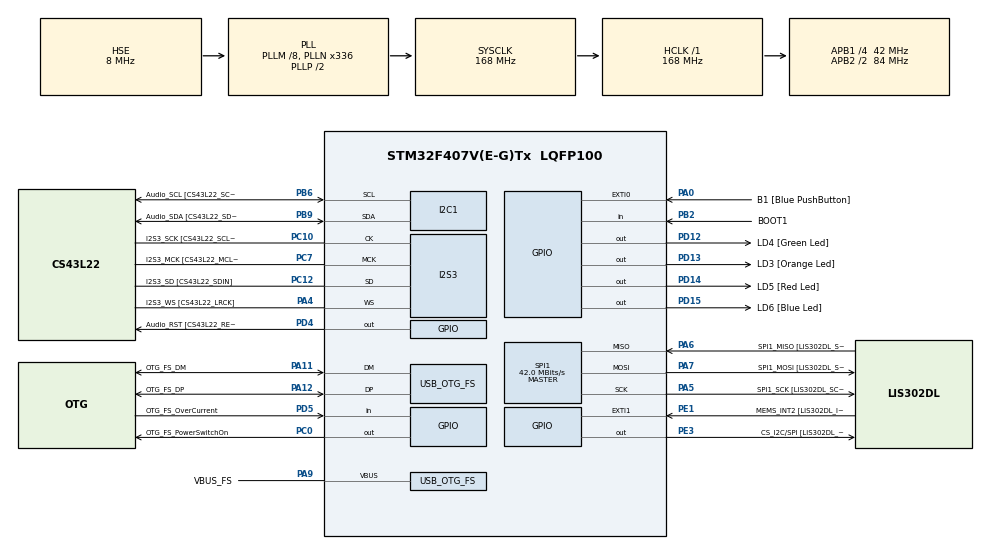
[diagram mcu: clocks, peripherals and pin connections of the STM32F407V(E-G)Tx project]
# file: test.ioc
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I2S3.AudioFreq-Half_Duplex_Master=I2S_AUDIOFREQ_96K
I2S3.ErrorAudioFreq=-2.34 %
I2S3.ErrorAudioFreq-Half_Duplex_Master=0.8 %
I2S3.FullDuplexMode=I2S_FULLDUPLEXMODE_DISABLE
I2S3.Instance=SPI$Index
I2S3.RealAudioFreq=93.75 KHz
I2S3.RealAudioFreq-Half_Duplex_Master=96.774 KHz
I2S3.VirtualMode=I2S_MODE_MASTER
Mcu.Family=STM32F4
Mcu.Name=STM32F407V(E-G)Tx
Mcu.Package=LQFP100
NVIC.OTG_FS_IRQn=true\:0\:0\:false\:false\:true\:true
NVIC.PriorityGroup=NVIC_PRIORITYGROUP_0
PA0-WKUP.GPIO_Label=B1 [Blue PushButton]
PA0-WKUP.GPIO_ModeDefaultEXTI=GPIO_MODE_EVT_RISING
PA0-WKUP.GPIO_PuPd=GPIO_NOPULL
PA0-WKUP.Signal=GPXTI0
PA10.GPIO_Label=OTG_FS_ID
PA10.GPIO_Mode=GPIO_MODE_AF_PP
PA10.GPIO_PuPd=GPIO_NOPULL
PA10.GPIO_Speed=GPIO_SPEED_FREQ_LOW
PA10.Signal=USB_OTG_FS_ID
PA11.GPIO_Label=OTG_FS_DM
PA11.GPIO_Mode=GPIO_MODE_AF_PP
PA11.GPIO_PuPd=GPIO_NOPULL
PA11.GPIO_Speed=GPIO_SPEED_FREQ_LOW
PA11.Mode=Device_Only
PA11.Signal=USB_OTG_FS_DM
PA12.GPIO_Label=OTG_FS_DP
PA12.GPIO_Mode=GPIO_MODE_AF_PP
PA12.GPIO_PuPd=GPIO_NOPULL
PA12.GPIO_Speed=GPIO_SPEED_FREQ_LOW
PA12.Mode=Device_Only
PA12.Signal=USB_OTG_FS_DP
PA13.GPIO_Label=SWDIO
PA13.Mode=Serial_Wire
PA13.Signal=SYS_JTMS-SWDIO
PA14.GPIO_Label=SWCLK
PA14.Mode=Serial_Wire
PA14.Signal=SYS_JTCK-SWCLK
PA4.GPIO_Label=I2S3_WS [CS43L22_LRCK]
PA4.GPIO_Mode=GPIO_MODE_AF_PP
PA4.GPIO_PuPd=GPIO_NOPULL
PA4.GPIO_Speed=GPIO_SPEED_FREQ_LOW
PA4.Mode=Half_Duplex_Master
PA4.Signal=I2S3_WS
PA5.GPIO_Label=SPI1_SCK [LIS302DL_SCL/SPC]
PA5.GPIO_Mode=GPIO_MODE_AF_PP
PA5.GPIO_PuPd=GPIO_NOPULL
PA5.GPIO_Speed=GPIO_SPEED_FREQ_LOW
PA5.Mode=Full_Duplex_Master
PA5.Signal=SPI1_SCK
PA6.GPIO_Label=SPI1_MISO [LIS302DL_SDO]
PA6.GPIO_Mode=GPIO_MODE_AF_PP
PA6.GPIO_PuPd=GPIO_NOPULL
PA6.GPIO_Speed=GPIO_SPEED_FREQ_LOW
PA6.Mode=Full_Duplex_Master
PA6.Signal=SPI1_MISO
PA7.GPIO_Label=SPI1_MOSI [LIS302DL_SDA/SDI/SDO]
PA7.GPIO_Mode=GPIO_MODE_AF_PP
PA7.GPIO_PuPd=GPIO_NOPULL
PA7.GPIO_Speed=GPIO_SPEED_FREQ_LOW
PA7.Mode=Full_Duplex_Master
PA7.Signal=SPI1_MOSI
PA9.GPIO_Label=VBUS_FS
PA9.GPIO_Mode=GPIO_MODE_INPUT
PA9.GPIO_PuPd=GPIO_NOPULL
PA9.Mode=Activate_VBUS
PA9.Signal=USB_OTG_FS_VBUS
PB10.GPIO_Label=CLK_IN [MP45DT02_CLK]
PB10.GPIO_Mode=GPIO_MODE_AF_PP
PB10.GPIO_PuPd=GPIO_NOPULL
PB10.GPIO_Speed=GPIO_SPEED_FREQ_LOW
PB10.Signal=I2S2_CK
PB2.GPIO_Label=BOOT1
PB2.GPIO_Mode=GPIO_MODE_INPUT
PB2.GPIO_PuPd=GPIO_NOPULL
PB2.Signal=GPIO_Input
PB3.GPIO_Label=SWO
PB3.Signal=SYS_JTDO-SWO
PB6.GPIO_Label=Audio_SCL [CS43L22_SCL]
PB6.GPIO_Mode=GPIO_MODE_AF_OD
PB6.GPIO_PuPd=GPIO_NOPULL
PB6.GPIO_Speed=GPIO_SPEED_FREQ_LOW
PB6.Mode=I2C
PB6.Signal=I2C1_SCL
PB9.GPIO_Label=Audio_SDA [CS43L22_SDA]
PB9.GPIO_Mode=GPIO_MODE_AF_OD
PB9.GPIO_PuPd=GPIO_NOPULL
PB9.GPIO_Speed=GPIO_SPEED_FREQ_LOW
PB9.Mode=I2C
PB9.Signal=I2C1_SDA
PC0.GPIO_Label=OTG_FS_PowerSwitchOn
PC0.GPIO_PuPd=GPIO_NOPULL
PC0.GPIO_Speed=GPIO_SPEED_FREQ_LOW
PC0.PinState=GPIO_PIN_SET
PC0.Signal=GPIO_Output
PC10.GPIO_Label=I2S3_SCK [CS43L22_SCLK]
PC10.GPIO_Mode=GPIO_MODE_AF_PP
PC10.GPIO_PuPd=GPIO_NOPULL
PC10.GPIO_Speed=GPIO_SPEED_FREQ_LOW
PC10.Mode=Half_Duplex_Master
PC10.Signal=I2S3_CK
PC12.GPIO_Label=I2S3_SD [CS43L22_SDIN]
PC12.GPIO_Mode=GPIO_MODE_AF_PP
PC12.GPIO_PuPd=GPIO_NOPULL
PC12.GPIO_Speed=GPIO_SPEED_FREQ_LOW
PC12.Mode=Half_Duplex_Master
PC12.Signal=I2S3_SD
PC14-OSC32_IN.GPIO_Label=PC14-OSC32_IN
PC14-OSC32_IN.Mode=LSE-External-Oscillator
PC14-OSC32_IN.Signal=RCC_OSC32_IN
PC15-OSC32_OUT.GPIO_Label=PC15-OSC32_OUT
PC15-OSC32_OUT.Mode=LSE-External-Oscillator
PC15-OSC32_OUT.Signal=RCC_OSC32_OUT
PC3.GPIO_Label=PDM_OUT [MP45DT02_DOUT]
PC3.GPIO_Mode=GPIO_MODE_AF_PP
PC3.GPIO_PuPd=GPIO_NOPULL
PC3.GPIO_Speed=GPIO_SPEED_FREQ_LOW
PC3.Signal=I2S2_SD
PC7.GPIO_Label=I2S3_MCK [CS43L22_MCLK]
PC7.GPIO_Mode=GPIO_MODE_AF_PP
PC7.GPIO_PuPd=GPIO_NOPULL
PC7.GPIO_Speed=GPIO_SPEED_FREQ_LOW
PC7.Mode=Master_Clock_Activated
PC7.Signal=I2S3_MCK
PD12.GPIO_Label=LD4 [Green Led]
PD12.GPIO_PuPd=GPIO_NOPULL
PD12.GPIO_Speed=GPIO_SPEED_FREQ_LOW
PD12.Signal=GPIO_Output
PD13.GPIO_Label=LD3 [Orange Led]
PD13.GPIO_PuPd=GPIO_NOPULL
PD13.GPIO_Speed=GPIO_SPEED_FREQ_LOW
PD13.Signal=GPIO_Output
PD14.GPIO_Label=LD5 [Red Led]
PD14.GPIO_PuPd=GPIO_NOPULL
PD14.GPIO_Speed=GPIO_SPEED_FREQ_LOW
PD14.Signal=GPIO_Output
PD15.GPIO_Label=LD6 [Blue Led]
PD15.GPIO_PuPd=GPIO_NOPULL
PD15.GPIO_Speed=GPIO_SPEED_FREQ_LOW
PD15.Signal=GPIO_Output
PD4.GPIO_Label=Audio_RST [CS43L22_RESET]
PD4.GPIO_PuPd=GPIO_NOPULL
PD4.GPIO_Speed=GPIO_SPEED_FREQ_LOW
PD4.Signal=GPIO_Output
PD5.GPIO_Label=OTG_FS_OverCurrent
PD5.GPIO_Mode=GPIO_MODE_INPUT
PD5.GPIO_PuPd=GPIO_NOPULL
PD5.Signal=GPIO_Input
PE1.GPIO_Label=MEMS_INT2 [LIS302DL_INT2]
PE1.GPIO_ModeDefaultEXTI=GPIO_MODE_EVT_RISING
PE1.GPIO_PuPd=GPIO_NOPULL
PE1.Signal=GPXTI1
PE3.GPIO_Label=CS_I2C/SPI [LIS302DL_CS_I2C/SPI]
PE3.GPIO_PuPd=GPIO_NOPULL
PE3.GPIO_Speed=GPIO_SPEED_FREQ_LOW
PE3.Signal=GPIO_Output
PH0-OSC_IN.GPIO_Label=PH0-OSC_IN
PH0-OSC_IN.Mode=HSE-External-Oscillator
PH0-OSC_IN.Signal=RCC_OSC_IN
PH1-OSC_OUT.GPIO_Label=PH1-OSC_OUT
PH1-OSC_OUT.Mode=HSE-External-Oscillator
PH1-OSC_OUT.Signal=RCC_OSC_OUT
ProjectManager.HeapSize=0x200
ProjectManager.StackSize=0x400
ProjectManager.TargetToolchain=Other Toolchains (GPDSC)
RCC.48MHZClocksFreq_Value=48000000
RCC.AHBFreq_Value=168000000
RCC.APB1CLKDivider=RCC_HCLK_DIV4
RCC.APB1Freq_Value=42000000
RCC.APB1TimFreq_Value=84000000
RCC.APB2CLKDivider=RCC_HCLK_DIV2
RCC.APB2Freq_Value=84000000
RCC.APB2TimFreq_Value=168000000
RCC.CortexFreq_Value=168000000
RCC.HCLKFreq_Value=168000000
RCC.HSE_VALUE=8000000
RCC.HSI_VALUE=16000000
RCC.PLLM=8
RCC.PLLN=336
RCC.PLLQ=7
RCC.SYSCLKFreq_VALUE=168000000
RCC.SYSCLKSource=RCC_SYSCLKSOURCE_PLLCLK
RCC.VCOOutputFreq_Value=336000000
SPI1.BaudRatePrescaler-Full_Duplex_Master=SPI_BAUDRATEPRESCALER_2
SPI1.CalculateBaudRate=42.0 MBits/s
SPI1.CalculateBaudRate-Full_Duplex_Master=42.0 MBits/s
SPI1.Direction=SPI_DIRECTION_2LINES
SPI1.Mode=SPI_MODE_MASTER
SPI1.Mode-Full_Duplex_Master=SPI_MODE_MASTER
SPI1.VirtualType=VM_MASTER
USB_DEVICE.CLASS_NAME_FS=HID
USB_DEVICE.MANUFACTURER_STRING-HID_FS=UniKeyboard
USB_DEVICE.PRODUCT_STRING_HID_FS=Unikeyboard STM32 Tester
USB_DEVICE.VirtualMode-HID_FS=Hid
USB_DEVICE.VirtualModeFS=Hid_FS
USB_OTG_FS.VirtualMode=Device_Only
VP_USB_DEVICE_VS_USB_DEVICE_HID_FS.Mode=HID_FS
board=STM32F4DISCOVERY

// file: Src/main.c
/**
  ******************************************************************************
  * @file           : main.c
  * @brief          : Main program body
  ******************************************************************************
  * This notice applies to any and all portions of this file
  * that are not between comment pairs USER CODE BEGIN and
  * USER CODE END. Other portions of this file, whether
  * inserted by the user or by software development tools
  * are owned by their respective copyright owners.
  *
  * Copyright (c) 2018 STMicroelectronics International N.V.
  * All rights reserved.
  *
  * Redistribution and use in source and binary forms, with or without
  * modification, are permitted, provided that the following conditions are met:
  *
  * 1. Redistribution of source code must retain the above copyright notice,
  *    this list of conditions and the following disclaimer.
  * 2. Redistributions in binary form must reproduce the above copyright notice,
  *    this list of conditions and the following disclaimer in the documentation
  *    and/or other materials provided with the distribution.
  * 3. Neither the name of STMicroelectronics nor the names of other
  *    contributors to this software may be used to endorse or promote products
  *    derived from this software without specific written permission.
  * 4. This software, including modifications and/or derivative works of this
  *    software, must execute solely and exclusively on microcontroller or
  *    microprocessor devices manufactured by or for STMicroelectronics.
  * 5. Redistribution and use of this software other than as permitted under
  *    this license is void and will automatically terminate your rights under
  *    this license.
  *
  * THIS SOFTWARE IS PROVIDED BY STMICROELECTRONICS AND CONTRIBUTORS "AS IS"
  * AND ANY EXPRESS, IMPLIED OR STATUTORY WARRANTIES, INCLUDING, BUT NOT
  * LIMITED TO, THE IMPLIED WARRANTIES OF MERCHANTABILITY, FITNESS FOR A
  * PARTICULAR PURPOSE AND NON-INFRINGEMENT OF THIRD PARTY INTELLECTUAL PROPERTY
  * RIGHTS ARE DISCLAIMED TO THE FULLEST EXTENT PERMITTED BY LAW. IN NO EVENT
  * SHALL STMICROELECTRONICS OR CONTRIBUTORS BE LIABLE FOR ANY DIRECT, INDIRECT,
  * INCIDENTAL, SPECIAL, EXEMPLARY, OR CONSEQUENTIAL DAMAGES (INCLUDING, BUT NOT
  * LIMITED TO, PROCUREMENT OF SUBSTITUTE GOODS OR SERVICES; LOSS OF USE, DATA,
  * OR PROFITS; OR BUSINESS INTERRUPTION) HOWEVER CAUSED AND ON ANY THEORY OF
  * LIABILITY, WHETHER IN CONTRACT, STRICT LIABILITY, OR TORT (INCLUDING
  * NEGLIGENCE OR OTHERWISE) ARISING IN ANY WAY OUT OF THE USE OF THIS SOFTWARE,
  * EVEN IF ADVISED OF THE POSSIBILITY OF SUCH DAMAGE.
  *
  ******************************************************************************
  */
#include "main.h"
#include "stm32f4xx_hal.h"
#include "usb_device.h"

/* USER CODE BEGIN Includes */
#define byte uint8_t
#define CLICK_REPORT_SIZE 8
uint8_t click_report[CLICK_REPORT_SIZE] = { 0 };

extern USBD_HandleTypeDef hUsbDeviceFS;
/* USER CODE END Includes */

I2C_HandleTypeDef hi2c1;

I2S_HandleTypeDef hi2s3;

SPI_HandleTypeDef hspi1;

/* USER CODE BEGIN PV */
/* Private variables ---------------------------------------------------------*/

/* USER CODE END PV */

void SystemClock_Config(void);
static void MX_GPIO_Init(void);
static void MX_I2C1_Init(void);
static void MX_I2S3_Init(void);
static void MX_SPI1_Init(void);

/* USER CODE BEGIN PFP */
/* Private function prototypes -----------------------------------------------*/

/* USER CODE END PFP */

int main(void)
{

  /* MCU Configuration----------------------------------------------------------*/

  /* Reset of all peripherals, Initializes the Flash interface and the Systick. */
  HAL_Init();

  /* Configure the system clock */
  SystemClock_Config();

  /* Initialize all configured peripherals */
  MX_GPIO_Init();
  MX_I2C1_Init();
  MX_I2S3_Init();
  MX_SPI1_Init();
  MX_USB_DEVICE_Init();

  /* Infinite loop */
  /* USER CODE BEGIN WHILE */

	byte state = 0;
	byte ledState = 0;
  while (1)
  {

  /* USER CODE END WHILE */

  /* USER CODE BEGIN 3 */

	  if (HAL_GPIO_ReadPin(B1_GPIO_Port, B1_Pin))
	  {
		  if (state == 0)
		  {
			  // first press
			  if(ledState == 0)
			  {
				  ledState = 1;
				  click_report[2] = 4;  // send button press
				    USBD_HID_SendReport(&hUsbDeviceFS, click_report, CLICK_REPORT_SIZE);
			  }
			  else
			  {
				  ledState = 0;
			  }

		  }
		  state = 1;

	  }
	  else
	  {
		  if (state == 1)
		  {
			  click_report[2] = 4;  // send button release
USBD_HID_SendReport(&hUsbDeviceFS, click_report, CLICK_REPORT_SIZE);

		  }
		  state = 0;
	  }

	  HAL_GPIO_WritePin(LD6_GPIO_Port, LD6_Pin, ledState);

HAL_Delay(10);  //Delay 1 Seconds

  }
  /* USER CODE END 3 */

}

void SystemClock_Config(void)
{

  RCC_OscInitTypeDef RCC_OscInitStruct;
  RCC_ClkInitTypeDef RCC_ClkInitStruct;
  RCC_PeriphCLKInitTypeDef PeriphClkInitStruct;

    /**Configure the main internal regulator output voltage
    */
  __HAL_RCC_PWR_CLK_ENABLE();

  __HAL_PWR_VOLTAGESCALING_CONFIG(PWR_REGULATOR_VOLTAGE_SCALE1);

    /**Initializes the CPU, AHB and APB busses clocks
    */
  RCC_OscInitStruct.OscillatorType = RCC_OSCILLATORTYPE_HSE;
  RCC_OscInitStruct.HSEState = RCC_HSE_ON;
  RCC_OscInitStruct.PLL.PLLState = RCC_PLL_ON;
  RCC_OscInitStruct.PLL.PLLSource = RCC_PLLSOURCE_HSE;
  RCC_OscInitStruct.PLL.PLLM = 8;
  RCC_OscInitStruct.PLL.PLLN = 336;
  RCC_OscInitStruct.PLL.PLLP = RCC_PLLP_DIV2;
  RCC_OscInitStruct.PLL.PLLQ = 7;
  if (HAL_RCC_OscConfig(&RCC_OscInitStruct) != HAL_OK)
  {
    _Error_Handler(__FILE__, __LINE__);
  }

    /**Initializes the CPU, AHB and APB busses clocks
    */
  RCC_ClkInitStruct.ClockType = RCC_CLOCKTYPE_HCLK|RCC_CLOCKTYPE_SYSCLK
                              |RCC_CLOCKTYPE_PCLK1|RCC_CLOCKTYPE_PCLK2;
  RCC_ClkInitStruct.SYSCLKSource = RCC_SYSCLKSOURCE_PLLCLK;
  RCC_ClkInitStruct.AHBCLKDivider = RCC_SYSCLK_DIV1;
  RCC_ClkInitStruct.APB1CLKDivider = RCC_HCLK_DIV4;
  RCC_ClkInitStruct.APB2CLKDivider = RCC_HCLK_DIV2;

  if (HAL_RCC_ClockConfig(&RCC_ClkInitStruct, FLASH_LATENCY_5) != HAL_OK)
  {
    _Error_Handler(__FILE__, __LINE__);
  }

  PeriphClkInitStruct.PeriphClockSelection = RCC_PERIPHCLK_I2S;
  PeriphClkInitStruct.PLLI2S.PLLI2SN = 192;
  PeriphClkInitStruct.PLLI2S.PLLI2SR = 2;
  if (HAL_RCCEx_PeriphCLKConfig(&PeriphClkInitStruct) != HAL_OK)
  {
    _Error_Handler(__FILE__, __LINE__);
  }

    /**Configure the Systick interrupt time
    */
  HAL_SYSTICK_Config(HAL_RCC_GetHCLKFreq()/1000);

    /**Configure the Systick
    */
  HAL_SYSTICK_CLKSourceConfig(SYSTICK_CLKSOURCE_HCLK);

  /* SysTick_IRQn interrupt configuration */
  HAL_NVIC_SetPriority(SysTick_IRQn, 0, 0);
}

/* I2C1 init function */
static void MX_I2C1_Init(void)
{

  hi2c1.Instance = I2C1;
  hi2c1.Init.ClockSpeed = 100000;
  hi2c1.Init.DutyCycle = I2C_DUTYCYCLE_2;
  hi2c1.Init.OwnAddress1 = 0;
  hi2c1.Init.AddressingMode = I2C_ADDRESSINGMODE_7BIT;
  hi2c1.Init.DualAddressMode = I2C_DUALADDRESS_DISABLE;
  hi2c1.Init.OwnAddress2 = 0;
  hi2c1.Init.GeneralCallMode = I2C_GENERALCALL_DISABLE;
  hi2c1.Init.NoStretchMode = I2C_NOSTRETCH_DISABLE;
  if (HAL_I2C_Init(&hi2c1) != HAL_OK)
  {
    _Error_Handler(__FILE__, __LINE__);
  }

}

/* I2S3 init function */
static void MX_I2S3_Init(void)
{

  hi2s3.Instance = SPI3;
  hi2s3.Init.Mode = I2S_MODE_MASTER_TX;
  hi2s3.Init.Standard = I2S_STANDARD_PHILIPS;
  hi2s3.Init.DataFormat = I2S_DATAFORMAT_16B;
  hi2s3.Init.MCLKOutput = I2S_MCLKOUTPUT_ENABLE;
  hi2s3.Init.AudioFreq = I2S_AUDIOFREQ_96K;
  hi2s3.Init.CPOL = I2S_CPOL_LOW;
  hi2s3.Init.ClockSource = I2S_CLOCK_PLL;
  hi2s3.Init.FullDuplexMode = I2S_FULLDUPLEXMODE_DISABLE;
  if (HAL_I2S_Init(&hi2s3) != HAL_OK)
  {
    _Error_Handler(__FILE__, __LINE__);
  }

}

/* SPI1 init function */
static void MX_SPI1_Init(void)
{

  /* SPI1 parameter configuration*/
  hspi1.Instance = SPI1;
  hspi1.Init.Mode = SPI_MODE_MASTER;
  hspi1.Init.Direction = SPI_DIRECTION_2LINES;
  hspi1.Init.DataSize = SPI_DATASIZE_8BIT;
  hspi1.Init.CLKPolarity = SPI_POLARITY_LOW;
  hspi1.Init.CLKPhase = SPI_PHASE_1EDGE;
  hspi1.Init.NSS = SPI_NSS_SOFT;
  hspi1.Init.BaudRatePrescaler = SPI_BAUDRATEPRESCALER_2;
  hspi1.Init.FirstBit = SPI_FIRSTBIT_MSB;
  hspi1.Init.TIMode = SPI_TIMODE_DISABLE;
  hspi1.Init.CRCCalculation = SPI_CRCCALCULATION_DISABLE;
  hspi1.Init.CRCPolynomial = 10;
  if (HAL_SPI_Init(&hspi1) != HAL_OK)
  {
    _Error_Handler(__FILE__, __LINE__);
  }

}

/** Configure pins as
        * Analog
        * Input
        * Output
        * EVENT_OUT
        * EXTI
     PC3   ------> I2S2_SD
     PB10   ------> I2S2_CK
*/
static void MX_GPIO_Init(void)
{

  GPIO_InitTypeDef GPIO_InitStruct;

  /* GPIO Ports Clock Enable */
  __HAL_RCC_GPIOE_CLK_ENABLE();
  __HAL_RCC_GPIOC_CLK_ENABLE();
  __HAL_RCC_GPIOH_CLK_ENABLE();
  __HAL_RCC_GPIOA_CLK_ENABLE();
  __HAL_RCC_GPIOB_CLK_ENABLE();
  __HAL_RCC_GPIOD_CLK_ENABLE();

  /*Configure GPIO pin Output Level */
  HAL_GPIO_WritePin(CS_I2C_SPI_GPIO_Port, CS_I2C_SPI_Pin, GPIO_PIN_RESET);

  /*Configure GPIO pin Output Level */
  HAL_GPIO_WritePin(OTG_FS_PowerSwitchOn_GPIO_Port, OTG_FS_PowerSwitchOn_Pin, GPIO_PIN_SET);

  /*Configure GPIO pin Output Level */
  HAL_GPIO_WritePin(GPIOD, LD4_Pin|LD3_Pin|LD5_Pin|LD6_Pin
                          |Audio_RST_Pin, GPIO_PIN_RESET);

  /*Configure GPIO pin : CS_I2C_SPI_Pin */
  GPIO_InitStruct.Pin = CS_I2C_SPI_Pin;
  GPIO_InitStruct.Mode = GPIO_MODE_OUTPUT_PP;
  GPIO_InitStruct.Pull = GPIO_NOPULL;
  GPIO_InitStruct.Speed = GPIO_SPEED_FREQ_LOW;
  HAL_GPIO_Init(CS_I2C_SPI_GPIO_Port, &GPIO_InitStruct);

  /*Configure GPIO pin : OTG_FS_PowerSwitchOn_Pin */
  GPIO_InitStruct.Pin = OTG_FS_PowerSwitchOn_Pin;
  GPIO_InitStruct.Mode = GPIO_MODE_OUTPUT_PP;
  GPIO_InitStruct.Pull = GPIO_NOPULL;
  GPIO_InitStruct.Speed = GPIO_SPEED_FREQ_LOW;
  HAL_GPIO_Init(OTG_FS_PowerSwitchOn_GPIO_Port, &GPIO_InitStruct);

  /*Configure GPIO pin : PDM_OUT_Pin */
  GPIO_InitStruct.Pin = PDM_OUT_Pin;
  GPIO_InitStruct.Mode = GPIO_MODE_AF_PP;
  GPIO_InitStruct.Pull = GPIO_NOPULL;
  GPIO_InitStruct.Speed = GPIO_SPEED_FREQ_LOW;
  GPIO_InitStruct.Alternate = GPIO_AF5_SPI2;
  HAL_GPIO_Init(PDM_OUT_GPIO_Port, &GPIO_InitStruct);

  /*Configure GPIO pin : B1_Pin */
  GPIO_InitStruct.Pin = B1_Pin;
  GPIO_InitStruct.Mode = GPIO_MODE_EVT_RISING;
  GPIO_InitStruct.Pull = GPIO_NOPULL;
  HAL_GPIO_Init(B1_GPIO_Port, &GPIO_InitStruct);

  /*Configure GPIO pin : BOOT1_Pin */
  GPIO_InitStruct.Pin = BOOT1_Pin;
  GPIO_InitStruct.Mode = GPIO_MODE_INPUT;
  GPIO_InitStruct.Pull = GPIO_NOPULL;
  HAL_GPIO_Init(BOOT1_GPIO_Port, &GPIO_InitStruct);

  /*Configure GPIO pin : CLK_IN_Pin */
  GPIO_InitStruct.Pin = CLK_IN_Pin;
  GPIO_InitStruct.Mode = GPIO_MODE_AF_PP;
  GPIO_InitStruct.Pull = GPIO_NOPULL;
  GPIO_InitStruct.Speed = GPIO_SPEED_FREQ_LOW;
  GPIO_InitStruct.Alternate = GPIO_AF5_SPI2;
  HAL_GPIO_Init(CLK_IN_GPIO_Port, &GPIO_InitStruct);

  /*Configure GPIO pins : LD4_Pin LD3_Pin LD5_Pin LD6_Pin
                           Audio_RST_Pin */
  GPIO_InitStruct.Pin = LD4_Pin|LD3_Pin|LD5_Pin|LD6_Pin
                          |Audio_RST_Pin;
  GPIO_InitStruct.Mode = GPIO_MODE_OUTPUT_PP;
  GPIO_InitStruct.Pull = GPIO_NOPULL;
  GPIO_InitStruct.Speed = GPIO_SPEED_FREQ_LOW;
  HAL_GPIO_Init(GPIOD, &GPIO_InitStruct);

  /*Configure GPIO pin : OTG_FS_OverCurrent_Pin */
  GPIO_InitStruct.Pin = OTG_FS_OverCurrent_Pin;
  GPIO_InitStruct.Mode = GPIO_MODE_INPUT;
  GPIO_InitStruct.Pull = GPIO_NOPULL;
  HAL_GPIO_Init(OTG_FS_OverCurrent_GPIO_Port, &GPIO_InitStruct);

  /*Configure GPIO pin : MEMS_INT2_Pin */
  GPIO_InitStruct.Pin = MEMS_INT2_Pin;
  GPIO_InitStruct.Mode = GPIO_MODE_EVT_RISING;
  GPIO_InitStruct.Pull = GPIO_NOPULL;
  HAL_GPIO_Init(MEMS_INT2_GPIO_Port, &GPIO_InitStruct);

}

void _Error_Handler(char *file, int line)
{
  while(1)
  {
  }
}

/************************ (C) COPYRIGHT STMicroelectronics *****END OF FILE****/
